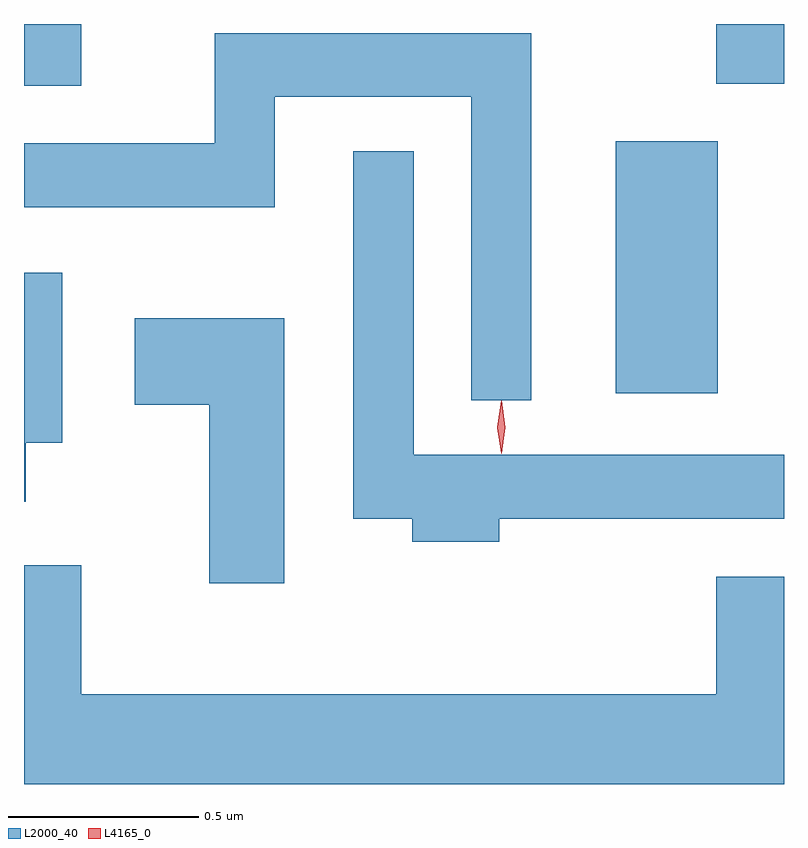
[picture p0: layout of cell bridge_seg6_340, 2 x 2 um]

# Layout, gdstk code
import gdstk
lib = gdstk.Library(unit=1e-6, precision=1e-09)
def R(c, l, rs):  # rectangles x0, y0, x1, y1
    for r in rs: c.add(gdstk.rectangle(r[:2], r[2:], *l))
def P(c, l, *ps):  # polygons
    for p in ps: c.add(gdstk.Polygon(p, *l))
L2000_40 = (2000, 40)
L4165_0 = (4165, 0)

bridge_seg6_340 = lib.new_cell('bridge_seg6_340')
R(bridge_seg6_340, L2000_40, [(1272.346,1544.436,1272.614,1545.099), (1270.789,1545.246,1270.939,1545.408), (1272.611,1545.251,1272.789,1545.408)])
P(bridge_seg6_340, L2000_40, [(1272.124,1545.384),(1271.291,1545.384),(1271.291,1545.094),(1270.789,1545.094),(1270.789,1544.926),(1271.449,1544.926),(1271.449,1545.216),(1271.966,1545.216),(1271.966,1544.418),(1272.124,1544.418)],
  [(1272.039,1544.106),(1272.789,1544.106),(1272.789,1544.274),(1271.814,1544.274),(1271.814,1545.073),(1271.656,1545.073),(1271.656,1544.106),(1271.811,1544.106),(1271.811,1544.046),(1272.039,1544.046)],
  [(1270.794,1544.306),(1270.889,1544.306),(1270.889,1544.754),(1270.789,1544.754),(1270.789,1544.151),(1270.794,1544.151)],
  [(1271.474,1544.634),(1271.081,1544.634),(1271.081,1544.406),(1271.276,1544.406),(1271.276,1543.936),(1271.474,1543.936)],
  [(1272.789,1543.954),(1272.611,1543.954),(1272.611,1543.644),(1270.939,1543.644),(1270.939,1543.984),(1270.789,1543.984),(1270.789,1543.408),(1272.789,1543.408)])
P(bridge_seg6_340, L4165_0, [(1272.045,1544.277),(1272.045,1544.278),(1272.035,1544.347),(1272.045,1544.416),(1272.045,1544.416),(1272.046,1544.416),(1272.055,1544.347),(1272.046,1544.278)],
  [(1272.045,1544.28),(1272.045,1544.28),(1272.035,1544.346),(1272.045,1544.412),(1272.045,1544.413),(1272.046,1544.412),(1272.055,1544.346),(1272.046,1544.28)])

lib.write_gds('bridge_seg6_340.gds')
